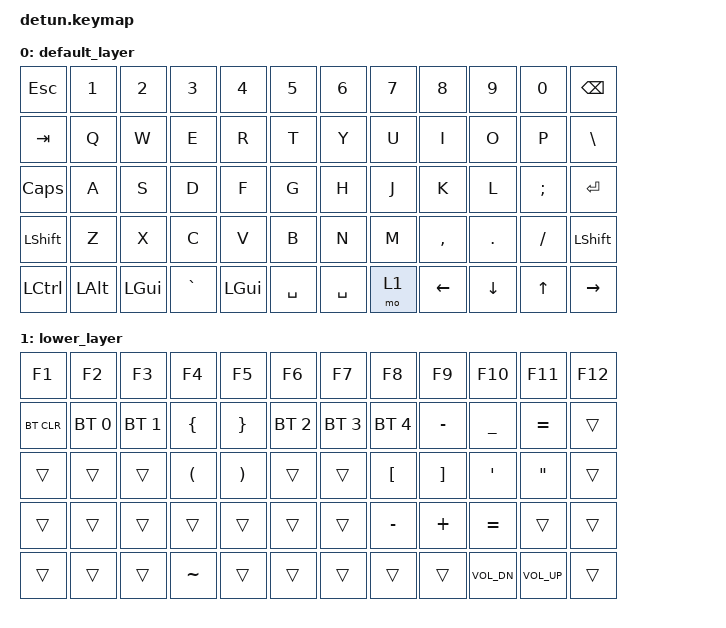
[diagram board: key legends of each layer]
/*
 * Copyright (c) 2020 The ZMK Contributors
 *
 * SPDX-License-Identifier: MIT
 */

#include <behaviors.dtsi>
#include <dt-bindings/zmk/keys.h>
#include <dt-bindings/zmk/bt.h>

/ {
        keymap {
                compatible = "zmk,keymap";

                default_layer {
// ---------------------------------------------------------------------------------
// | ESC   | 1     | 2     | 3     | 4     | 5     |     | 6     | 7     | 8     | 9     | 0     | BSPC  |
// | TAB   | q     | w     | e     | r     | t     |     | y     | u     | i     | o     | p     | \     |
// | CAPS  | a     | s     | d     | f     | g     |     | h     | j     | k     | l     | ;     | ENT   |
// | SHFT  | z     | x     | c     | v     | b     |     | n     | m     | ,     | .     | /     | SHFT  |
// | CTRL  | ALT   | GUI   | `     | GUI   | SPC   |     | SPC   | L1    | ←     | ↓     | ↑     | →     |
                        bindings = <
   &kp ESC  &kp N1  &kp N2  &kp N3  &kp N4  &kp N5               &kp N6  &kp N7  &kp N8  &kp N9  &kp N0  &kp BSPC
   &kp TAB  &kp Q  &kp W  &kp E  &kp R  &kp T               &kp Y  &kp U  &kp I  &kp O  &kp P  &kp BSLH
   &kp CAPS  &kp A  &kp S  &kp D  &kp F  &kp G               &kp H  &kp J  &kp K  &kp L  &kp SEMI  &kp RET
   &kp LSHFT  &kp Z  &kp X  &kp C  &kp V  &kp B               &kp N  &kp M  &kp COMMA  &kp DOT  &kp FSLH  &kp LSHFT
   &kp LCTRL  &kp LALT  &kp LGUI  &kp GRAVE  &kp LGUI  &kp SPACE             &kp SPACE  &mo 1  &kp LEFT  &kp DOWN  &kp UP  &kp RIGHT
                        >;
                };
                lower_layer {
// ---------------------------------------------------------------------------------
// | F1    | F2    | F3    | F4    | F5    | F6    |     | F7    | F8    | F9    | F10   | F11   | F12   |
// | BTCLR | BT0   | BT1   | {     | }     | BT2   |     | BT3   | BT4   | -     | _     | =     |       |
// |       |       |       | (     | )     |       |     |       | [     | ]     | '     | "     |       |
// |       |       |       |       |       |       |     |       | -     | +     | =     |       |       |
// |       |       |       | ~     |       |       |     |       |       |       | VOL-  | VOL+  |       |
                        bindings = <
   &kp F1  &kp F2  &kp F3  &kp F4  &kp F5  &kp F6               &kp F7  &kp F8  &kp F9  &kp F10  &kp F11  &kp F12
   &bt BT_CLR  &bt BT_SEL 0  &bt BT_SEL 1  &kp LBRC  &kp RBRC  &bt BT_SEL 2               &bt BT_SEL 3  &bt BT_SEL 4  &kp MINUS  &kp UNDER  &kp EQUAL  &trans
   &trans  &trans  &trans  &kp LPAR  &kp RPAR  &trans               &trans  &kp LBKT  &kp RBKT  &kp SQT  &kp DQT  &trans
   &trans  &trans  &trans  &trans  &trans  &trans               &trans  &kp MINUS  &kp PLUS  &kp EQUAL  &trans  &trans
   &trans  &trans  &trans  &kp TILDE  &trans  &trans             &trans  &trans  &trans  &kp C_VOL_DN  &kp C_VOL_UP  &trans
                        >;
                };
        };
};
